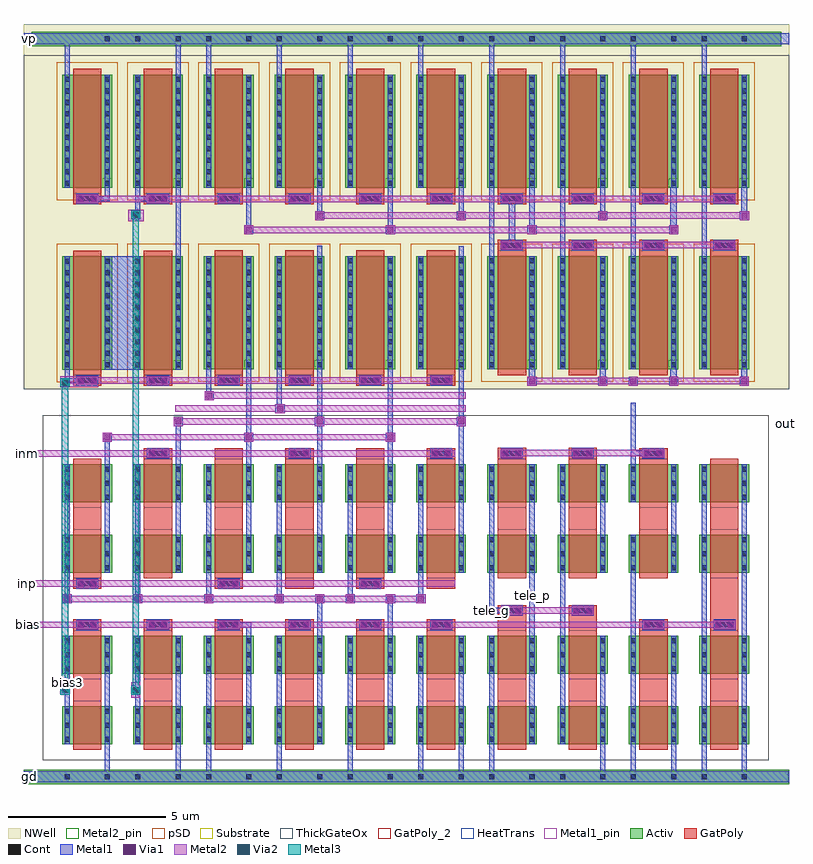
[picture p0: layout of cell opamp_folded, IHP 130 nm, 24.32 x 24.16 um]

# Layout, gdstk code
import gdstk
lib = gdstk.Library(unit=1e-6, precision=1e-09)
def R(c, l, rs):  # rectangles x0, y0, x1, y1
    for r in rs: c.add(gdstk.rectangle(r[:2], r[2:], *l))
def A(c, l, x, y, w, h, nx, ny, dx, dy):  # array of equal rectangles
    R(c, l, [(x+i*dx, y+j*dy, x+i*dx+w, y+j*dy+h) for i in range(nx) for j in range(ny)])
Activ = (1, 0)
GatPoly = (5, 0)
GatPoly_2 = (5, 2)
Cont = (6, 0)
Metal1 = (8, 0)
Metal1_pin = (8, 2)
Metal2 = (10, 0)
Metal2_pin = (10, 2)
pSD = (14, 0)
Via1 = (19, 0)
Via2 = (29, 0)
Metal3 = (30, 0)
NWell = (31, 0)
Substrate = (40, 0)
ThickGateOx = (44, 0)
HeatTrans = (51, 0)

pmoshv = lib.new_cell('pmosHV')
R(pmoshv, Activ, [(0,0,0.3,0.3), (0,0,1.58,3.6), (1.28,0,1.58,0.3)])
R(pmoshv, GatPoly, [(0.34,-0.18,1.24,3.78)])
R(pmoshv, GatPoly_2, [(0.34,-0.18,1.24,3.78)])
A(pmoshv, Cont, 0.07, 0.07, 0.16, 0.16, 1, 3, 0, 0.365)
A(pmoshv, Cont, 1.35, 0.07, 0.16, 0.16, 1, 3, 0, 0.365)
A(pmoshv, Cont, 0.07, 1.17, 0.16, 0.16, 1, 3, 0, 0.365)
A(pmoshv, Cont, 1.35, 1.17, 0.16, 0.16, 1, 3, 0, 0.365)
A(pmoshv, Cont, 0.07, 2.27, 0.16, 0.16, 1, 3, 0, 0.365)
A(pmoshv, Cont, 1.35, 2.27, 0.16, 0.16, 1, 3, 0, 0.365)
R(pmoshv, Cont, [(0.07,3.37,0.23,3.53), (1.35,3.37,1.51,3.53)])
R(pmoshv, Metal1, [(0.07,0,0.23,3.6), (1.35,0,1.51,3.6)])
R(pmoshv, Metal1_pin, [(0.07,0,0.23,3.6), (1.35,0,1.51,3.6)])
R(pmoshv, pSD, [(-0.18,-0.4,1.76,4)])
R(pmoshv, NWell, [(-0.62,-0.62,2.2,4.22)])
R(pmoshv, Substrate, [(1.28,0,1.58,0.3)])
R(pmoshv, ThickGateOx, [(-0.62,-0.62,2.2,4.22)])
R(pmoshv, HeatTrans, [(0.34,-0.18,1.24,3.78)])
pmoshv.add(gdstk.Label('pmosHV', (0.79,1.8), layer=63, texttype=0))
pmoshv.add(gdstk.Label('pmos', (0.79,1.8), layer=51, texttype=0))

via_stack_1 = lib.new_cell('via_stack$1')
R(via_stack_1, Metal1, [(-0.145,-0.145,0.145,0.145)])
R(via_stack_1, Metal2, [(-0.145,-0.145,0.145,0.145)])
R(via_stack_1, Via1, [(-0.095,-0.095,0.095,0.095)])

via_stack = lib.new_cell('via_stack')
R(via_stack, Metal1, [(-0.35,-0.145,0.35,0.145)])
R(via_stack, Metal2, [(-0.35,-0.145,0.35,0.145)])
R(via_stack, Via1, [(-0.3,-0.095,-0.11,0.095), (0.11,-0.095,0.3,0.095)])

via_stack_6 = lib.new_cell('via_stack$6')
R(via_stack_6, Metal1, [(-0.145,-0.145,0.145,0.145)])
R(via_stack_6, Metal2, [(-0.145,-0.145,0.145,0.145)])
R(via_stack_6, Via1, [(-0.095,-0.095,0.095,0.095)])
R(via_stack_6, Via2, [(-0.095,-0.095,0.095,0.095)])
R(via_stack_6, Metal3, [(-0.145,-0.145,0.145,0.145)])

nmoshv = lib.new_cell('nmosHV')
R(nmoshv, Activ, [(0,0,0.3,0.3), (0,0,1.58,1.2), (1.28,0,1.58,0.3)])
R(nmoshv, GatPoly, [(0.34,-0.18,1.24,1.38)])
R(nmoshv, GatPoly_2, [(0.34,-0.18,1.24,1.38)])
A(nmoshv, Cont, 0.07, 0.07, 0.16, 0.16, 1, 3, 0, 0.45)
A(nmoshv, Cont, 1.35, 0.07, 0.16, 0.16, 1, 3, 0, 0.45)
R(nmoshv, Metal1, [(0.07,0,0.23,1.2), (1.35,0,1.51,1.2)])
R(nmoshv, Metal1_pin, [(0.07,0,0.23,1.2), (1.35,0,1.51,1.2)])
R(nmoshv, ThickGateOx, [(-0.27,-0.52,1.85,1.72)])
R(nmoshv, HeatTrans, [(0.34,-0.18,1.24,1.38)])
nmoshv.add(gdstk.Label('nmosHV', (0.79,0.6), layer=63, texttype=0))
nmoshv.add(gdstk.Label('nmosHV', (0.79,0.6), layer=51, texttype=0))

opamp_folded = lib.new_cell('opamp_folded')
A(opamp_folded, GatPoly, 6.06, 6.2, 0.9, 0.34, 4, 2, 2.25, 6.46)
A(opamp_folded, GatPoly, 3.81, 10.34, 0.9, 0.34, 5, 1, 2.25, 0)
A(opamp_folded, GatPoly, 15.06, 16.96, 0.9, 0.34, 4, 1, 2.25, 0)
A(opamp_folded, GatPoly, 1.56, 18.43, 0.9, 0.34, 10, 1, 2.25, 0)
R(opamp_folded, GatPoly, [(1.56,6.2,2.46,6.54), (1.56,12.655,2.46,12.995), (3.81,12.655,4.71,12.995)])
A(opamp_folded, Cont, 1.71, 4.98, 0.6, 0.16, 6, 2, 2.25, 7.77)
A(opamp_folded, Cont, 1.71, 6.29, 0.6, 0.16, 3, 1, 4.5, 0)
A(opamp_folded, Cont, 3.96, 10.43, 0.6, 0.16, 3, 1, 4.5, 0)
A(opamp_folded, Cont, 15.21, 17.05, 0.6, 0.16, 4, 1, 2.25, 0)
A(opamp_folded, Cont, 1.71, 18.52, 0.6, 0.16, 10, 1, 2.25, 0)
R(opamp_folded, Cont, [(1.29,0.15,1.45,0.31), (2.57,0.15,2.73,0.31), (3.54,0.15,3.7,0.31), (4.82,0.15,4.98,0.31), (5.79,0.15,5.95,0.31), (7.07,0.15,7.23,0.31), (8.04,0.15,8.2,0.31), (9.32,0.15,9.48,0.31), (10.29,0.15,10.45,0.31), (11.57,0.15,11.73,0.31), (12.54,0.15,12.7,0.31), (13.82,0.15,13.98,0.31), (14.79,0.15,14.95,0.31), (16.07,0.15,16.23,0.31), (17.04,0.15,17.2,0.31), (18.32,0.15,18.48,0.31), (19.29,0.15,19.45,0.31), (20.57,0.15,20.73,0.31), (21.54,0.15,21.7,0.31), (22.82,0.15,22.98,0.31), (19.71,4.98,20.31,5.14), (21.97,4.98,22.57,5.14), (15.21,5.43,15.81,5.59), (17.46,5.43,18.06,5.59), (19.71,10.43,20.31,10.59), (15.21,10.44,15.81,10.6), (17.46,10.44,18.06,10.6), (2.57,23.61,2.73,23.77), (3.54,23.61,3.7,23.77), (4.82,23.61,4.98,23.77), (5.79,23.61,5.95,23.77), (7.07,23.61,7.23,23.77), (8.04,23.61,8.2,23.77), (9.32,23.61,9.48,23.77), (10.29,23.61,10.45,23.77), (11.57,23.61,11.73,23.77), (12.54,23.61,12.7,23.77), (13.82,23.61,13.98,23.77), (14.79,23.61,14.95,23.77), (16.07,23.61,16.23,23.77), (17.04,23.61,17.2,23.77), (18.32,23.61,18.48,23.77), (19.29,23.61,19.45,23.77), (20.57,23.61,20.73,23.77), (21.54,23.61,21.7,23.77), (22.82,23.61,22.98,23.77)])
A(opamp_folded, Metal1, 1.66, 4.89, 0.7, 0.34, 6, 1, 2.25, 0)
A(opamp_folded, Metal1, 1.66, 6.2, 0.7, 0.34, 3, 1, 4.5, 0)
A(opamp_folded, Metal1, 3.91, 10.34, 0.7, 0.34, 3, 1, 4.5, 0)
A(opamp_folded, Metal1, 6.16, 12.66, 0.7, 0.34, 4, 1, 2.25, 0)
A(opamp_folded, Metal1, 15.16, 16.96, 0.7, 0.34, 4, 1, 2.25, 0)
A(opamp_folded, Metal1, 1.66, 18.43, 0.7, 0.34, 10, 1, 2.25, 0)
R(opamp_folded, Metal1, [(19.66,4.89,20.36,5.23), (21.92,4.89,22.62,5.23), (15.16,5.345,15.86,5.685), (17.41,5.345,18.11,5.685), (19.66,10.34,20.36,10.68), (15.16,10.35,15.86,10.69), (17.41,10.35,18.11,10.69), (1.66,12.655,2.36,12.995), (3.91,12.655,4.61,12.995), (2.57,13.175,3.7,16.775)])
R(opamp_folded, Metal1_pin, [(0,0.05,0.36,0.41), (0,23.51,0.36,23.87)])
R(opamp_folded, Metal2, [(3.41,2.74,3.7,3.23), (1.16,12.615,2.36,12.97), (3.32,17.89,3.81,18.25)])
R(opamp_folded, Metal2_pin, [(0,4.96,0.2,5.16), (0,6.27,0.2,6.47), (0,10.41,0.2,10.61), (24.12,11.36,24.32,11.56)])
R(opamp_folded, NWell, [(0,12.555,24.32,24.16)])
R(opamp_folded, ThickGateOx, [(0.6,0.75,23.67,11.725), (0,12.555,24.32,23.17)])
opamp_folded.add(gdstk.FlexPath([(14.87,6.72),(14.87,10.16)], 0.16, ends="flush", simple_path=True, layer=8, datatype=0))  # Metal1
opamp_folded.add(gdstk.FlexPath([(18.4,6.72),(18.4,10.16)], 0.16, ends="flush", simple_path=True, layer=8, datatype=0))  # Metal1
opamp_folded.add(gdstk.FlexPath([(3.62,18.95),(3.62,18.6),(3.91,18.6)], 0.16, ends="flush", simple_path=True, layer=8, datatype=0))  # Metal1
opamp_folded.add(gdstk.FlexPath([(2.65,18.95),(2.65,18.6),(2.36,18.6)], 0.16, ends="flush", simple_path=True, layer=8, datatype=0))  # Metal1
opamp_folded.add(gdstk.FlexPath([(11.65,22.515),(11.65,17.515)], 0.16, ends="flush", simple_path=True, layer=8, datatype=0))  # Metal1
opamp_folded.add(gdstk.FlexPath([(9.4,22.55),(9.4,17.965)], 0.16, ends="flush", simple_path=True, layer=8, datatype=0))  # Metal1
opamp_folded.add(gdstk.FlexPath([(7.15,22.515),(7.15,17.515)], 0.16, ends="flush", simple_path=True, layer=8, datatype=0))  # Metal1
opamp_folded.add(gdstk.FlexPath([(4.9,16.775),(4.9,23.69)], 0.16, ends="flush", simple_path=True, layer=8, datatype=0))  # Metal1
opamp_folded.add(gdstk.FlexPath([(13.9,22.55),(13.9,17.965)], 0.16, ends="flush", simple_path=True, layer=8, datatype=0))  # Metal1
opamp_folded.add(gdstk.FlexPath([(16.15,22.515),(16.15,17.515)], 0.16, ends="flush", simple_path=True, layer=8, datatype=0))  # Metal1
opamp_folded.add(gdstk.FlexPath([(18.4,22.55),(18.4,17.965)], 0.16, ends="flush", simple_path=True, layer=8, datatype=0))  # Metal1
opamp_folded.add(gdstk.FlexPath([(20.65,18.95),(20.65,17.47)], 0.2, ends="flush", simple_path=True, layer=8, datatype=0))  # Metal1
opamp_folded.add(gdstk.FlexPath([(22.9,18.95),(22.9,17.925)], 0.2, ends="flush", simple_path=True, layer=8, datatype=0))  # Metal1
opamp_folded.add(gdstk.FlexPath([(15.51,18.685),(15.51,17.3)], 0.2, ends="flush", simple_path=True, layer=8, datatype=0))  # Metal1
opamp_folded.add(gdstk.FlexPath([(1.66,12.825),(1.37,12.825),(1.37,13.175)], 0.16, ends="flush", simple_path=True, layer=8, datatype=0))  # Metal1
opamp_folded.add(gdstk.FlexPath([(21.62,13.18),(21.62,23.69)], 0.16, ends="flush", simple_path=True, layer=8, datatype=0))  # Metal1
opamp_folded.add(gdstk.FlexPath([(19.37,13.18),(19.37,23.69)], 0.16, ends="flush", simple_path=True, layer=8, datatype=0))  # Metal1
opamp_folded.add(gdstk.FlexPath([(3.62,17.955),(3.62,18.95)], 0.16, ends="flush", simple_path=True, layer=8, datatype=0))  # Metal1
opamp_folded.add(gdstk.FlexPath([(0,23.69),(24.32,23.69)], 0.36, ends="flush", simple_path=True, layer=8, datatype=0))  # Metal1
opamp_folded.add(gdstk.FlexPath([(16.15,13.18),(16.15,12.705)], 0.2, ends="flush", simple_path=True, layer=8, datatype=0))  # Metal1
opamp_folded.add(gdstk.FlexPath([(18.4,13.18),(18.4,12.705)], 0.2, ends="flush", simple_path=True, layer=8, datatype=0))  # Metal1
opamp_folded.add(gdstk.FlexPath([(1.37,18.95),(1.37,23.69)], 0.16, ends="flush", simple_path=True, layer=8, datatype=0))  # Metal1
opamp_folded.add(gdstk.FlexPath([(5.87,18.95),(5.87,23.69)], 0.16, ends="flush", simple_path=True, layer=8, datatype=0))  # Metal1
opamp_folded.add(gdstk.FlexPath([(8.12,18.95),(8.12,23.69)], 0.16, ends="flush", simple_path=True, layer=8, datatype=0))  # Metal1
opamp_folded.add(gdstk.FlexPath([(10.37,18.95),(10.37,23.69)], 0.16, ends="flush", simple_path=True, layer=8, datatype=0))  # Metal1
opamp_folded.add(gdstk.FlexPath([(12.62,18.95),(12.62,23.69)], 0.16, ends="flush", simple_path=True, layer=8, datatype=0))  # Metal1
opamp_folded.add(gdstk.FlexPath([(17.12,13.18),(17.12,23.69)], 0.16, ends="flush", simple_path=True, layer=8, datatype=0))  # Metal1
opamp_folded.add(gdstk.FlexPath([(14.87,13.18),(14.87,23.69)], 0.16, ends="flush", simple_path=True, layer=8, datatype=0))  # Metal1
opamp_folded.add(gdstk.FlexPath([(20.65,13.18),(20.65,12.71)], 0.2, ends="flush", simple_path=True, layer=8, datatype=0))  # Metal1
opamp_folded.add(gdstk.FlexPath([(22.9,13.18),(22.9,12.71)], 0.2, ends="flush", simple_path=True, layer=8, datatype=0))  # Metal1
opamp_folded.add(gdstk.FlexPath([(5.87,13.18),(5.87,12.25)], 0.16, ends="flush", simple_path=True, layer=8, datatype=0))  # Metal1
opamp_folded.add(gdstk.FlexPath([(8.12,13.18),(8.12,11.84)], 0.16, ends="flush", simple_path=True, layer=8, datatype=0))  # Metal1
opamp_folded.add(gdstk.FlexPath([(0,0.23),(24.32,0.23)], 0.36, ends="flush", simple_path=True, layer=8, datatype=0))  # Metal1
opamp_folded.add(gdstk.FlexPath([(1.37,1.27),(1.37,4.71)], 0.16, ends="flush", simple_path=True, layer=8, datatype=0))  # Metal1
opamp_folded.add(gdstk.FlexPath([(4.9,4.71),(4.9,0.23)], 0.16, ends="flush", simple_path=True, layer=8, datatype=0))  # Metal1
opamp_folded.add(gdstk.FlexPath([(5.87,4.71),(5.87,0.23)], 0.16, ends="flush", simple_path=True, layer=8, datatype=0))  # Metal1
opamp_folded.add(gdstk.FlexPath([(8.12,4.71),(8.12,0.23)], 0.16, ends="flush", simple_path=True, layer=8, datatype=0))  # Metal1
opamp_folded.add(gdstk.FlexPath([(10.37,4.71),(10.37,0.23)], 0.16, ends="flush", simple_path=True, layer=8, datatype=0))  # Metal1
opamp_folded.add(gdstk.FlexPath([(13.9,4.71),(13.9,0.23)], 0.16, ends="flush", simple_path=True, layer=8, datatype=0))  # Metal1
opamp_folded.add(gdstk.FlexPath([(12.62,4.71),(12.62,0.23)], 0.16, ends="flush", simple_path=True, layer=8, datatype=0))  # Metal1
opamp_folded.add(gdstk.FlexPath([(14.87,4.71),(14.87,0.23)], 0.16, ends="flush", simple_path=True, layer=8, datatype=0))  # Metal1
opamp_folded.add(gdstk.FlexPath([(18.4,4.71),(18.4,0.23)], 0.16, ends="flush", simple_path=True, layer=8, datatype=0))  # Metal1
opamp_folded.add(gdstk.FlexPath([(20.65,4.71),(20.65,0.23)], 0.16, ends="flush", simple_path=True, layer=8, datatype=0))  # Metal1
opamp_folded.add(gdstk.FlexPath([(21.62,10.16),(21.62,0.23)], 0.16, ends="flush", simple_path=True, layer=8, datatype=0))  # Metal1
opamp_folded.add(gdstk.FlexPath([(22.9,10.16),(22.9,0.23)], 0.16, ends="flush", simple_path=True, layer=8, datatype=0))  # Metal1
opamp_folded.add(gdstk.FlexPath([(19.37,10.16),(19.37,12.12)], 0.16, ends="flush", simple_path=True, layer=8, datatype=0))  # Metal1
opamp_folded.add(gdstk.FlexPath([(1.37,5.74),(1.37,8.96)], 0.16, ends="flush", simple_path=True, layer=8, datatype=0))  # Metal1
opamp_folded.add(gdstk.FlexPath([(2.65,7.92),(2.65,11.12)], 0.16, ends="flush", simple_path=True, layer=8, datatype=0))  # Metal1
opamp_folded.add(gdstk.FlexPath([(3.62,5.74),(3.62,8.96)], 0.16, ends="flush", simple_path=True, layer=8, datatype=0))  # Metal1
opamp_folded.add(gdstk.FlexPath([(4.9,7.92),(4.9,11.58)], 0.16, ends="flush", simple_path=True, layer=8, datatype=0))  # Metal1
opamp_folded.add(gdstk.FlexPath([(19.37,6.72),(19.37,0.23)], 0.16, ends="flush", simple_path=True, layer=8, datatype=0))  # Metal1
opamp_folded.add(gdstk.FlexPath([(10.37,10.16),(10.37,5.78)], 0.16, ends="flush", simple_path=True, layer=8, datatype=0))  # Metal1
opamp_folded.add(gdstk.FlexPath([(14.87,6.72),(14.87,5.515),(15.16,5.515)], 0.16, ends="flush", simple_path=True, layer=8, datatype=0))  # Metal1
opamp_folded.add(gdstk.FlexPath([(7.15,6.72),(7.15,16.68)], 0.16, ends="flush", simple_path=True, layer=8, datatype=0))  # Metal1
opamp_folded.add(gdstk.FlexPath([(12.62,10.16),(12.62,5.78)], 0.16, ends="flush", simple_path=True, layer=8, datatype=0))  # Metal1
opamp_folded.add(gdstk.FlexPath([(9.4,6.72),(9.4,17.105)], 0.16, ends="flush", simple_path=True, layer=8, datatype=0))  # Metal1
opamp_folded.add(gdstk.FlexPath([(11.65,4.71),(11.65,1.27)], 0.16, ends="flush", simple_path=True, layer=8, datatype=0))  # Metal1
opamp_folded.add(gdstk.FlexPath([(11.65,1.27),(11.65,5.99)], 0.16, ends="flush", simple_path=True, layer=8, datatype=0))  # Metal1
opamp_folded.add(gdstk.FlexPath([(16.15,1.27),(16.15,10.16)], 0.16, ends="flush", simple_path=True, layer=8, datatype=0))  # Metal1
opamp_folded.add(gdstk.FlexPath([(17.12,10.16),(17.12,1.27)], 0.16, ends="flush", simple_path=True, layer=8, datatype=0))  # Metal1
opamp_folded.add(gdstk.FlexPath([(11.65,6.72),(11.65,16.685)], 0.16, ends="flush", simple_path=True, layer=8, datatype=0))  # Metal1
opamp_folded.add(gdstk.FlexPath([(13.9,6.72),(13.9,17.1)], 0.16, ends="flush", simple_path=True, layer=8, datatype=0))  # Metal1
opamp_folded.add(gdstk.FlexPath([(8.12,10.09),(8.12,5.78)], 0.16, ends="flush", simple_path=True, layer=8, datatype=0))  # Metal1
opamp_folded.add(gdstk.FlexPath([(5.87,10.16),(5.87,5.785)], 0.16, ends="flush", simple_path=True, layer=8, datatype=0))  # Metal1
opamp_folded.add(gdstk.FlexPath([(9.4,1.27),(9.4,5.99)], 0.16, ends="flush", simple_path=True, layer=8, datatype=0))  # Metal1
opamp_folded.add(gdstk.FlexPath([(7.15,1.27),(7.15,5.06),(6.86,5.06)], 0.16, ends="flush", simple_path=True, layer=8, datatype=0))  # Metal1
opamp_folded.add(gdstk.FlexPath([(3.62,1.27),(3.62,4.71)], 0.16, ends="flush", simple_path=True, layer=8, datatype=0))  # Metal1
opamp_folded.add(gdstk.FlexPath([(20.65,7.92),(20.65,8.96)], 0.16, ends="flush", simple_path=True, layer=8, datatype=0))  # Metal1
opamp_folded.add(gdstk.FlexPath([(19.37,10.16),(19.37,10.51),(19.66,10.51)], 0.16, ends="flush", simple_path=True, layer=8, datatype=0))  # Metal1
opamp_folded.add(gdstk.FlexPath([(2.65,4.71),(2.65,0.23)], 0.16, ends="flush", simple_path=True, layer=8, datatype=0))  # Metal1
opamp_folded.add(gdstk.FlexPath([(0.24,23.69),(24.08,23.69)], 0.46, ends="flush", simple_path=True, layer=1, datatype=0))  # Activ
opamp_folded.add(gdstk.FlexPath([(0,0.23),(24.32,0.23)], 0.46, ends="flush", simple_path=True, layer=1, datatype=0))  # Activ
opamp_folded.add(gdstk.FlexPath([(17.76,1.09),(17.76,5.685)], 0.9, ends="flush", simple_path=True, layer=5, datatype=0))  # GatPoly
opamp_folded.add(gdstk.FlexPath([(15.51,1.09),(15.51,5.685)], 0.9, ends="flush", simple_path=True, layer=5, datatype=0))  # GatPoly
opamp_folded.add(gdstk.FlexPath([(11.01,8.1),(11.01,8.78)], 0.9, ends="flush", simple_path=True, layer=5, datatype=0))  # GatPoly
opamp_folded.add(gdstk.FlexPath([(13.26,8.1),(13.26,8.78)], 0.9, ends="flush", simple_path=True, layer=5, datatype=0))  # GatPoly
opamp_folded.add(gdstk.FlexPath([(11.01,1.09),(11.01,5.23)], 0.9, ends="flush", simple_path=True, layer=5, datatype=0))  # GatPoly
opamp_folded.add(gdstk.FlexPath([(8.76,1.09),(8.76,5.23)], 0.9, ends="flush", simple_path=True, layer=5, datatype=0))  # GatPoly
opamp_folded.add(gdstk.FlexPath([(13.26,1.09),(13.26,5.23)], 0.9, ends="flush", simple_path=True, layer=5, datatype=0))  # GatPoly
opamp_folded.add(gdstk.FlexPath([(20.01,1.09),(20.01,5.23)], 0.9, ends="flush", simple_path=True, layer=5, datatype=0))  # GatPoly
opamp_folded.add(gdstk.FlexPath([(8.76,8.1),(8.76,8.78)], 0.9, ends="flush", simple_path=True, layer=5, datatype=0))  # GatPoly
opamp_folded.add(gdstk.FlexPath([(6.51,8.1),(6.51,8.78)], 0.9, ends="flush", simple_path=True, layer=5, datatype=0))  # GatPoly
opamp_folded.add(gdstk.FlexPath([(15.51,6.54),(15.51,10.69)], 0.9, ends="flush", simple_path=True, layer=5, datatype=0))  # GatPoly
opamp_folded.add(gdstk.FlexPath([(17.76,6.54),(17.76,10.69)], 0.9, ends="flush", simple_path=True, layer=5, datatype=0))  # GatPoly
opamp_folded.add(gdstk.FlexPath([(2.01,1.09),(2.01,5.23)], 0.9, ends="flush", simple_path=True, layer=5, datatype=0))  # GatPoly
opamp_folded.add(gdstk.FlexPath([(4.26,1.09),(4.26,5.23)], 0.9, ends="flush", simple_path=True, layer=5, datatype=0))  # GatPoly
opamp_folded.add(gdstk.FlexPath([(4.26,8.1),(4.26,8.78)], 0.9, ends="flush", simple_path=True, layer=5, datatype=0))  # GatPoly
opamp_folded.add(gdstk.FlexPath([(2.01,8.1),(2.01,8.78)], 0.9, ends="flush", simple_path=True, layer=5, datatype=0))  # GatPoly
opamp_folded.add(gdstk.FlexPath([(6.51,5.23),(6.51,1.09)], 0.9, ends="flush", simple_path=True, layer=5, datatype=0))  # GatPoly
opamp_folded.add(gdstk.FlexPath([(20.01,10.68),(20.01,6.54)], 0.9, ends="flush", simple_path=True, layer=5, datatype=0))  # GatPoly
opamp_folded.add(gdstk.FlexPath([(22.26,1.09),(22.26,5.23)], 0.9, ends="flush", simple_path=True, layer=5, datatype=0))  # GatPoly
opamp_folded.add(gdstk.FlexPath([(22.26,10.34),(22.26,5.23)], 0.9, ends="flush", simple_path=True, layer=5, datatype=0))  # GatPoly
opamp_folded.add(gdstk.FlexPath([(0.03,0.23),(24.29,0.23)], 0.36, ends="flush", simple_path=True, layer=14, datatype=0))  # pSD
opamp_folded.add(gdstk.FlexPath([(14.04,11.525),(4.805,11.525)], 0.2, ends="flush", simple_path=True, layer=10, datatype=0))  # Metal2
opamp_folded.add(gdstk.FlexPath([(2.57,11.02),(11.795,11.02)], 0.2, ends="flush", simple_path=True, layer=10, datatype=0))  # Metal2
opamp_folded.add(gdstk.FlexPath([(22.61,18.6),(4.56,18.6)], 0.2, ends="flush", simple_path=True, layer=10, datatype=0))  # Metal2
opamp_folded.add(gdstk.FlexPath([(4.61,18.6),(1.66,18.6)], 0.2, ends="flush", simple_path=True, layer=10, datatype=0))  # Metal2
opamp_folded.add(gdstk.FlexPath([(23.05,18.07),(9.255,18.07)], 0.2, ends="flush", simple_path=True, layer=10, datatype=0))  # Metal2
opamp_folded.add(gdstk.FlexPath([(7.005,17.615),(20.8,17.615)], 0.2, ends="flush", simple_path=True, layer=10, datatype=0))  # Metal2
opamp_folded.add(gdstk.FlexPath([(1.66,12.825),(13.61,12.825)], 0.2, ends="flush", simple_path=True, layer=10, datatype=0))  # Metal2
opamp_folded.add(gdstk.FlexPath([(15.16,17.13),(22.61,17.13)], 0.2, ends="flush", simple_path=True, layer=10, datatype=0))  # Metal2
opamp_folded.add(gdstk.FlexPath([(23.045,12.81),(16.005,12.81)], 0.2, ends="flush", simple_path=True, layer=10, datatype=0))  # Metal2
opamp_folded.add(gdstk.FlexPath([(14.04,11.94),(4.805,11.94)], 0.2, ends="flush", simple_path=True, layer=10, datatype=0))  # Metal2
opamp_folded.add(gdstk.FlexPath([(14.04,12.35),(5.79,12.35)], 0.2, ends="flush", simple_path=True, layer=10, datatype=0))  # Metal2
opamp_folded.add(gdstk.FlexPath([(13.71,10.51),(0,10.51)], 0.2, ends="flush", simple_path=True, layer=10, datatype=0))  # Metal2
opamp_folded.add(gdstk.FlexPath([(13.71,6.37),(0,6.37)], 0.2, ends="flush", simple_path=True, layer=10, datatype=0))  # Metal2
opamp_folded.add(gdstk.FlexPath([(15.16,5.515),(18.11,5.515)], 0.2, ends="flush", simple_path=True, layer=10, datatype=0))  # Metal2
opamp_folded.add(gdstk.FlexPath([(0,5.06),(22.62,5.06)], 0.2, ends="flush", simple_path=True, layer=10, datatype=0))  # Metal2
opamp_folded.add(gdstk.FlexPath([(15.16,10.52),(20.36,10.52)], 0.2, ends="flush", simple_path=True, layer=10, datatype=0))  # Metal2
opamp_folded.add(gdstk.FlexPath([(12.765,5.885),(1.265,5.885)], 0.2, ends="flush", simple_path=True, layer=10, datatype=0))  # Metal2
opamp_folded.add(gdstk.FlexPath([(1.305,12.855),(1.305,3.085)], 0.2, ends="flush", simple_path=True, layer=30, datatype=0))  # Metal3
opamp_folded.add(gdstk.FlexPath([(3.555,3.13),(3.555,18.195)], 0.2, ends="flush", simple_path=True, layer=30, datatype=0))  # Metal3
opamp_folded.add(gdstk.Reference(pmoshv, (10.22,18.95)))
opamp_folded.add(gdstk.Reference(pmoshv, (12.47,18.95)))
opamp_folded.add(gdstk.Reference(pmoshv, (10.22,13.18)))
opamp_folded.add(gdstk.Reference(pmoshv, (12.47,13.18)))
opamp_folded.add(gdstk.Reference(via_stack_1, (8.14,11.935)))
opamp_folded.add(gdstk.Reference(via_stack_1, (16.15,17.615)))
opamp_folded.add(gdstk.Reference(via_stack_1, (18.4,18.07)))
opamp_folded.add(gdstk.Reference(via_stack_1, (20.655,17.615)))
opamp_folded.add(gdstk.Reference(via_stack_1, (22.905,18.065)))
opamp_folded.add(gdstk.Reference(via_stack, (13.26,18.6)))
opamp_folded.add(gdstk.Reference(via_stack, (15.51,18.6)))
opamp_folded.add(gdstk.Reference(via_stack, (17.76,18.6)))
opamp_folded.add(gdstk.Reference(via_stack, (20.01,18.6)))
opamp_folded.add(gdstk.Reference(via_stack, (22.26,18.6)))
opamp_folded.add(gdstk.Reference(pmoshv, (14.72,18.95)))
opamp_folded.add(gdstk.Reference(pmoshv, (14.72,13.18)))
opamp_folded.add(gdstk.Reference(pmoshv, (21.47,13.18)))
opamp_folded.add(gdstk.Reference(via_stack, (15.51,17.13)))
opamp_folded.add(gdstk.Reference(via_stack, (17.76,17.13)))
opamp_folded.add(gdstk.Reference(via_stack, (20.01,17.13)))
opamp_folded.add(gdstk.Reference(via_stack, (22.26,17.13)))
opamp_folded.add(gdstk.Reference(pmoshv, (16.97,18.95)))
opamp_folded.add(gdstk.Reference(via_stack, (13.26,12.83)))
opamp_folded.add(gdstk.Reference(pmoshv, (16.97,13.18)))
opamp_folded.add(gdstk.Reference(via_stack_1, (18.4,12.8)))
opamp_folded.add(gdstk.Reference(via_stack_1, (16.15,12.8)))
opamp_folded.add(gdstk.Reference(pmoshv, (19.22,13.18)))
opamp_folded.add(gdstk.Reference(via_stack_1, (20.65,12.805)))
opamp_folded.add(gdstk.Reference(via_stack_1, (22.9,12.805)))
opamp_folded.add(gdstk.Reference(via_stack_1, (19.37,12.805)))
opamp_folded.add(gdstk.Reference(pmoshv, (19.22,18.95)))
opamp_folded.add(gdstk.Reference(pmoshv, (21.47,18.95)))
opamp_folded.add(gdstk.Reference(via_stack_1, (13.9,18.07)))
opamp_folded.add(gdstk.Reference(via_stack_1, (11.65,17.615)))
opamp_folded.add(gdstk.Reference(via_stack, (2.01,18.6)))
opamp_folded.add(gdstk.Reference(via_stack_1, (9.4,18.07)))
opamp_folded.add(gdstk.Reference(pmoshv, (3.47,18.95)))
opamp_folded.add(gdstk.Reference(via_stack, (6.51,18.6)))
opamp_folded.add(gdstk.Reference(via_stack, (8.76,18.6)))
opamp_folded.add(gdstk.Reference(pmoshv, (5.72,13.18)))
opamp_folded.add(gdstk.Reference(via_stack, (8.76,12.83)))
opamp_folded.add(gdstk.Reference(pmoshv, (7.97,18.95)))
opamp_folded.add(gdstk.Reference(via_stack, (11.01,12.83)))
opamp_folded.add(gdstk.Reference(via_stack, (11.01,18.6)))
opamp_folded.add(gdstk.Reference(via_stack, (4.26,18.6)))
opamp_folded.add(gdstk.Reference(via_stack_6, (3.555,18.1)))
opamp_folded.add(gdstk.Reference(via_stack_6, (1.305,12.76)))
opamp_folded.add(gdstk.Reference(via_stack, (6.51,12.83)))
opamp_folded.add(gdstk.Reference(pmoshv, (5.72,18.95)))
opamp_folded.add(gdstk.Reference(pmoshv, (1.22,18.95)))
opamp_folded.add(gdstk.Reference(pmoshv, (1.22,13.175)))
opamp_folded.add(gdstk.Reference(pmoshv, (3.47,13.175)))
opamp_folded.add(gdstk.Reference(via_stack, (2.01,12.825)))
opamp_folded.add(gdstk.Reference(via_stack, (4.26,12.825)))
opamp_folded.add(gdstk.Reference(pmoshv, (7.97,13.18)))
opamp_folded.add(gdstk.Reference(via_stack_1, (7.15,17.615)))
opamp_folded.add(gdstk.Reference(via_stack_1, (5.885,12.345)))
opamp_folded.add(gdstk.Reference(via_stack_1, (4.9,11.525)))
opamp_folded.add(gdstk.Reference(via_stack_1, (7.15,11.02)))
opamp_folded.add(gdstk.Reference(via_stack, (11.01,6.37)))
opamp_folded.add(gdstk.Reference(via_stack, (8.76,5.06)))
opamp_folded.add(gdstk.Reference(nmoshv, (5.72,3.51)))
opamp_folded.add(gdstk.Reference(via_stack, (6.51,5.06)))
opamp_folded.add(gdstk.Reference(nmoshv, (3.47,3.51)))
opamp_folded.add(gdstk.Reference(nmoshv, (3.47,1.27)))
opamp_folded.add(gdstk.Reference(nmoshv, (10.22,3.51)))
opamp_folded.add(gdstk.Reference(via_stack_1, (1.37,5.885)))
opamp_folded.add(gdstk.Reference(via_stack, (4.26,5.06)))
opamp_folded.add(gdstk.Reference(nmoshv, (7.97,3.51)))
opamp_folded.add(gdstk.Reference(nmoshv, (3.47,8.96)))
opamp_folded.add(gdstk.Reference(nmoshv, (3.47,6.72)))
opamp_folded.add(gdstk.Reference(nmoshv, (1.22,8.96)))
opamp_folded.add(gdstk.Reference(nmoshv, (1.22,6.72)))
opamp_folded.add(gdstk.Reference(via_stack_1, (11.65,5.885)))
opamp_folded.add(gdstk.Reference(nmoshv, (7.97,1.27)))
opamp_folded.add(gdstk.Reference(via_stack, (11.01,5.06)))
opamp_folded.add(gdstk.Reference(nmoshv, (10.22,1.27)))
opamp_folded.add(gdstk.Reference(nmoshv, (10.22,8.96)))
opamp_folded.add(gdstk.Reference(via_stack, (6.51,6.37)))
opamp_folded.add(gdstk.Reference(via_stack_1, (8.12,5.885)))
opamp_folded.add(gdstk.Reference(via_stack, (8.76,10.51)))
opamp_folded.add(gdstk.Reference(via_stack_6, (1.305,2.99)))
opamp_folded.add(gdstk.Reference(via_stack_1, (5.87,5.885)))
opamp_folded.add(gdstk.Reference(nmoshv, (7.97,8.96)))
opamp_folded.add(gdstk.Reference(via_stack_6, (3.555,2.985)))
opamp_folded.add(gdstk.Reference(nmoshv, (7.97,6.72)))
opamp_folded.add(gdstk.Reference(via_stack_1, (3.615,5.885)))
opamp_folded.add(gdstk.Reference(via_stack_1, (11.65,11.02)))
opamp_folded.add(gdstk.Reference(nmoshv, (5.72,1.27)))
opamp_folded.add(gdstk.Reference(via_stack_1, (9.4,5.885)))
opamp_folded.add(gdstk.Reference(via_stack, (2.01,5.06)))
opamp_folded.add(gdstk.Reference(nmoshv, (1.22,1.27)))
opamp_folded.add(gdstk.Reference(nmoshv, (5.72,8.96)))
opamp_folded.add(gdstk.Reference(nmoshv, (5.72,6.72)))
opamp_folded.add(gdstk.Reference(nmoshv, (1.22,3.51)))
opamp_folded.add(gdstk.Reference(via_stack, (2.01,6.37)))
opamp_folded.add(gdstk.Reference(via_stack, (4.26,10.51)))
opamp_folded.add(gdstk.Reference(via_stack_1, (2.65,11.02)))
opamp_folded.add(gdstk.Reference(nmoshv, (10.22,6.72)))
opamp_folded.add(gdstk.Reference(via_stack_1, (10.37,5.885)))
opamp_folded.add(gdstk.Reference(via_stack_1, (9.395,11.525)))
opamp_folded.add(gdstk.Reference(nmoshv, (16.97,6.72)))
opamp_folded.add(gdstk.Reference(nmoshv, (12.47,8.96)))
opamp_folded.add(gdstk.Reference(via_stack, (13.26,5.06)))
opamp_folded.add(gdstk.Reference(nmoshv, (14.72,1.27)))
opamp_folded.add(gdstk.Reference(nmoshv, (19.22,8.96)))
opamp_folded.add(gdstk.Reference(nmoshv, (19.22,6.72)))
opamp_folded.add(gdstk.Reference(via_stack, (20.01,10.51)))
opamp_folded.add(gdstk.Reference(nmoshv, (21.47,3.51)))
opamp_folded.add(gdstk.Reference(nmoshv, (21.47,1.27)))
opamp_folded.add(gdstk.Reference(nmoshv, (21.47,8.96)))
opamp_folded.add(gdstk.Reference(nmoshv, (21.47,6.72)))
opamp_folded.add(gdstk.Reference(via_stack, (22.27,5.06)))
opamp_folded.add(gdstk.Reference(nmoshv, (16.97,8.96)))
opamp_folded.add(gdstk.Reference(nmoshv, (19.22,3.51)))
opamp_folded.add(gdstk.Reference(via_stack, (20.01,5.06)))
opamp_folded.add(gdstk.Reference(nmoshv, (19.22,1.27)))
opamp_folded.add(gdstk.Reference(nmoshv, (16.97,3.51)))
opamp_folded.add(gdstk.Reference(nmoshv, (12.47,3.51)))
opamp_folded.add(gdstk.Reference(via_stack, (13.26,10.51)))
opamp_folded.add(gdstk.Reference(nmoshv, (12.47,6.72)))
opamp_folded.add(gdstk.Reference(nmoshv, (14.72,6.72)))
opamp_folded.add(gdstk.Reference(nmoshv, (14.72,8.96)))
opamp_folded.add(gdstk.Reference(nmoshv, (16.97,1.27)))
opamp_folded.add(gdstk.Reference(via_stack, (17.76,5.515)))
opamp_folded.add(gdstk.Reference(via_stack, (17.76,10.52)))
opamp_folded.add(gdstk.Reference(via_stack, (15.51,10.52)))
opamp_folded.add(gdstk.Reference(via_stack, (15.51,5.515)))
opamp_folded.add(gdstk.Reference(nmoshv, (12.47,1.27)))
opamp_folded.add(gdstk.Reference(via_stack_1, (12.62,5.885)))
opamp_folded.add(gdstk.Reference(via_stack_1, (13.895,11.525)))
opamp_folded.add(gdstk.Reference(nmoshv, (14.72,3.51)))
opamp_folded.add(gdstk.Label('tele_g', (14.861,5.511), layer=8, texttype=25))
opamp_folded.add(gdstk.Label('vp', (0.18,23.69), layer=8, texttype=25))
opamp_folded.add(gdstk.Label('bias3', (1.372,3.212), layer=8, texttype=25))
opamp_folded.add(gdstk.Label('tele_p', (16.15,6), layer=8, texttype=25))
opamp_folded.add(gdstk.Label('tele_m', (17.12,6), layer=8, texttype=25))
opamp_folded.add(gdstk.Label('gd', (0.18,0.23), layer=8, texttype=25))
opamp_folded.add(gdstk.Label('inp', (0.1,6.37), layer=10, texttype=25))
opamp_folded.add(gdstk.Label('inm', (0.1,10.51), layer=10, texttype=25))
opamp_folded.add(gdstk.Label('out', (24.22,11.46), layer=10, texttype=25))
opamp_folded.add(gdstk.Label('bias', (0.1,5.06), layer=10, texttype=25))

lib.write_gds('opamp_folded.gds')
